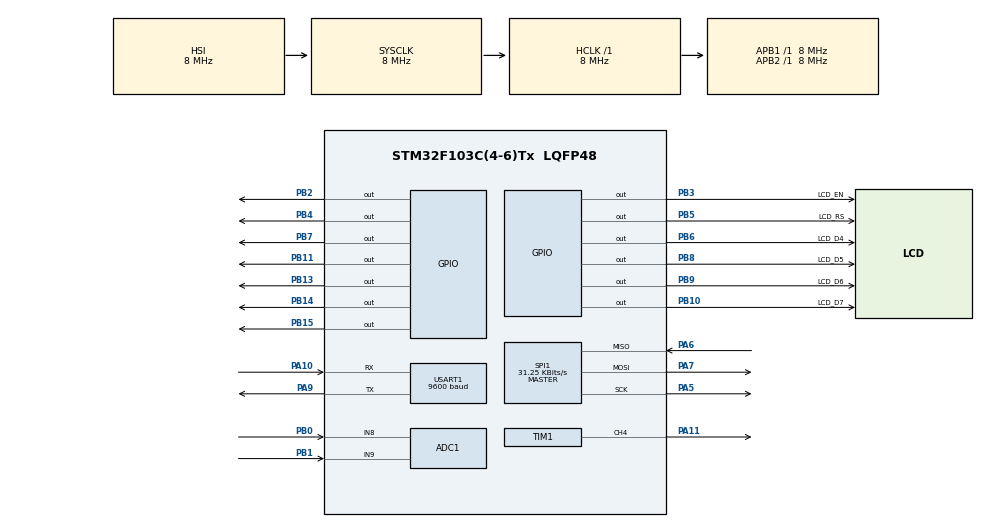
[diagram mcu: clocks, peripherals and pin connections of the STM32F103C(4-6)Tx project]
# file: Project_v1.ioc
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ADC1.Channel-1\#ChannelRegularConversion=ADC_CHANNEL_8
ADC1.ContinuousConvMode=ENABLE
ADC1.NbrOfConversionFlag=1
ADC1.Rank-1\#ChannelRegularConversion=1
ADC1.SamplingTime-1\#ChannelRegularConversion=ADC_SAMPLETIME_1CYCLE_5
ADC1.master=1
Dma.ADC1.0.Direction=DMA_PERIPH_TO_MEMORY
Dma.ADC1.0.Instance=DMA1_Channel1
Dma.ADC1.0.MemDataAlignment=DMA_MDATAALIGN_WORD
Dma.ADC1.0.MemInc=DMA_MINC_ENABLE
Dma.ADC1.0.Mode=DMA_CIRCULAR
Dma.ADC1.0.PeriphDataAlignment=DMA_PDATAALIGN_HALFWORD
Dma.ADC1.0.PeriphInc=DMA_PINC_DISABLE
Dma.ADC1.0.Priority=DMA_PRIORITY_HIGH
Dma.Request0=ADC1
Mcu.Family=STM32F1
Mcu.Name=STM32F103C(4-6)Tx
Mcu.Package=LQFP48
NVIC.ADC1_2_IRQn=true\:0\:0\:false\:false\:true\:true\:true
NVIC.DMA1_Channel1_IRQn=true\:0\:0\:false\:false\:true\:false\:true
NVIC.PriorityGroup=NVIC_PRIORITYGROUP_4
NVIC.TIM2_IRQn=true\:0\:0\:false\:false\:true\:true\:true
PA10.Mode=Asynchronous
PA10.Signal=USART1_RX
PA11.Signal=S_TIM1_CH4
PA13.Mode=Serial_Wire
PA13.Signal=SYS_JTMS-SWDIO
PA14.Mode=Serial_Wire
PA14.Signal=SYS_JTCK-SWCLK
PA5.Mode=Full_Duplex_Master
PA5.Signal=SPI1_SCK
PA6.Mode=Full_Duplex_Master
PA6.Signal=SPI1_MISO
PA7.Mode=Full_Duplex_Master
PA7.Signal=SPI1_MOSI
PA9.Mode=Asynchronous
PA9.Signal=USART1_TX
PB0.Signal=ADCx_IN8
PB1.Signal=ADCx_IN9
PB10.GPIO_Label=LCD_D7
PB10.Signal=GPIO_Output
PB11.Signal=GPIO_Output
PB13.GPIO_ModeDefaultOutputPP=GPIO_MODE_OUTPUT_PP
PB13.GPIO_PuPd=GPIO_PULLDOWN
PB13.GPIO_Speed=GPIO_SPEED_FREQ_LOW
PB13.PinState=GPIO_PIN_SET
PB13.Signal=GPIO_Output
PB14.Signal=GPIO_Output
PB15.Signal=GPIO_Output
PB2.Signal=GPIO_Output
PB3.GPIO_Label=LCD_EN
PB3.Signal=GPIO_Output
PB4.Signal=GPIO_Output
PB5.GPIO_Label=LCD_RS
PB5.Signal=GPIO_Output
PB6.GPIO_Label=LCD_D4
PB6.Signal=GPIO_Output
PB7.Signal=GPIO_Output
PB8.GPIO_Label=LCD_D5
PB8.Signal=GPIO_Output
PB9.GPIO_Label=LCD_D6
PB9.Signal=GPIO_Output
PD0-OSC_IN.Mode=HSE-External-Oscillator
PD0-OSC_IN.Signal=RCC_OSC_IN
PD1-OSC_OUT.Mode=HSE-External-Oscillator
PD1-OSC_OUT.Signal=RCC_OSC_OUT
ProjectManager.HeapSize=0x200
ProjectManager.StackSize=0x400
ProjectManager.TargetToolchain=MDK-ARM V5.27
RCC.AHBFreq_Value=8000000
RCC.APB1Freq_Value=8000000
RCC.APB1TimFreq_Value=8000000
RCC.APB2Freq_Value=8000000
RCC.APB2TimFreq_Value=8000000
RCC.HCLKFreq_Value=8000000
RCC.SYSCLKFreq_VALUE=8000000
RCC.USBFreq_Value=8000000
SH.ADCx_IN8.0=ADC1_IN8,IN8
SH.ADCx_IN9.0=ADC1_IN9,IN9
SH.S_TIM1_CH4.0=TIM1_CH4,Output Compare4 CH4
SPI1.BaudRatePrescaler=SPI_BAUDRATEPRESCALER_256
SPI1.CLKPhase=SPI_PHASE_2EDGE
SPI1.CalculateBaudRate=31.25 KBits/s
SPI1.Direction=SPI_DIRECTION_2LINES
SPI1.Mode=SPI_MODE_MASTER
SPI1.VirtualType=VM_MASTER
TIM1.Channel-Output\ Compare4\ CH4=TIM_CHANNEL_4
TIM1.OCMode_4=TIM_OCMODE_TOGGLE
TIM1.Period=63999
TIM1.Prescaler=124
TIM2.Period=63999
TIM2.Prescaler=124
USART1.BaudRate=9600
USART1.VirtualMode=VM_ASYNC
VP_TIM1_VS_ClockSourceINT.Mode=Internal
VP_TIM2_VS_ClockSourceINT.Mode=Internal
board=custom

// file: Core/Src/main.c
/* USER CODE BEGIN Header */
/**
  ******************************************************************************
  * @file           : main.c
  * @brief          : Main program body
  ******************************************************************************
  * @attention
  *
  * <h2><center>&copy; Copyright (c) 2021 STMicroelectronics.
  * All rights reserved.</center></h2>
  *
  * This software component is licensed by ST under BSD 3-Clause license,
  * the "License"; You may not use this file except in compliance with the
  * License. You may obtain a copy of the License at:
  *                        opensource.org/licenses/BSD-3-Clause
  *
  ******************************************************************************
  */
/* USER CODE END Header */
#include "main.h"

/* USER CODE BEGIN Includes */
#include "stdio.h"
#include "../../Drivers/TC72_mesu/hal_tc72.h"
#include "LCD.h"
#include "stdlib.h"
#include "math.h"
/* USER CODE END Includes */

ADC_HandleTypeDef hadc1;
DMA_HandleTypeDef hdma_adc1;

SPI_HandleTypeDef hspi1;

TIM_HandleTypeDef htim1;
TIM_HandleTypeDef htim2;

UART_HandleTypeDef huart1;

void SystemClock_Config(void);
static void MX_GPIO_Init(void);
static void MX_DMA_Init(void);
static void MX_SPI1_Init(void);
static void MX_USART1_UART_Init(void);
static void MX_ADC1_Init(void);
static void MX_TIM2_Init(void);
static void MX_TIM1_Init(void);

/* USER CODE BEGIN 0 */
//LED
int flag = 0;
static uint8_t m;
static uint8_t b;
static uint8_t r;

//y=mx+b
//Linear Regression Function
void linearregression(uint8_t n, uint32_t x[], uint32_t y[]){
	double sumx = 0.0;
	double sumx2 = 0.0;
	double sumxy = 0.0;
	double sumy = 0.0;
	double sumy2 = 0.0;

	for (int i=0;i<n;i++){
		    sumx  += x[i];
        sumx2 += (x[i]*x[i]);
        sumxy += x[i] * y[i];
        sumy  += y[i];
        sumy2 += (y[i]*y[i]);
	}

	double denom = ((n*sumx2) - (sumx*sumx));
	if (denom == 0){
		m =0;
		b=0;
		r=0;
	}
	else{
		m=(n*sumxy - sumx*sumy)/denom;
		b=(sumy*sumx2 - sumx*sumxy)/denom;
		if (r!=NULL){
			r=(sumxy-sumx * sumy/n)/(sumx2 - ((sumx*sumx)/n))*(sumy2 - ((sumy*sumy)/n))*(sumx2 - ((sumx*sumx)/n))*(sumy2 - ((sumy*sumy)/n));
		}
	}
}

/* USER CODE END 0 */

int main(void)
{
  /* USER CODE BEGIN 1 */

	//LED
	uint32_t ADC_value[100];
	uint8_t k;
	uint32_t ad1, ad2;
	//LED END

  /* USER CODE END 1 */

  /* MCU Configuration--------------------------------------------------------*/

  /* Reset of all peripherals, Initializes the Flash interface and the Systick. */
  HAL_Init();

  /* Configure the system clock */
  SystemClock_Config();

  /* Initialize all configured peripherals */
  MX_GPIO_Init();
  MX_DMA_Init();
  MX_SPI1_Init();
  MX_USART1_UART_Init();
  MX_ADC1_Init();
  MX_TIM2_Init();
  MX_TIM1_Init();
  /* USER CODE BEGIN 2 */
	HAL_TIM_OC_Start(&htim1, TIM_CHANNEL_4);
	HAL_TIM_Base_Start_IT(&htim2);
	//LDR
	HAL_ADC_Start_DMA(&hadc1,(uint32_t*)&ADC_value,100);
  //LDR END

	//LCD
 lcd_init(_LCD_4BIT, _LCD_FONT_5x8, _LCD_2LINE);
 int i=0;
 char yazi[32]=" ";
 HAL_Delay(250);
 //LCD END END END

  /* USER CODE END 2 */

  /* Infinite loop */
  /* USER CODE BEGIN WHILE */
	//GPIO_B_PIN2 = HC72_CE_Pin
	char vterminal_data[256];
	int len;
	uint8_t spi_tx_data[]= {0};
	uint8_t spi_rx_data[]= {0};
	uint8_t hc72_MSB =0;
	uint8_t hc72_LSB =0;

	len = sprintf(vterminal_data, "Configuring sensor... \r\n");
	HAL_UART_Transmit(&huart1,(uint8_t*)vterminal_data, len+1, HAL_MAX_DELAY);

	//Configure temp sensor
	//CE enable
	HAL_GPIO_WritePin(GPIOB, GPIO_PIN_2, GPIO_PIN_SET);
	spi_tx_data[0]= CONTROL_REG;
	if (HAL_SPI_Transmit(&hspi1,spi_tx_data,1, HAL_MAX_DELAY) != HAL_OK){
	len = sprintf(vterminal_data, "Error... \r\n");
	HAL_UART_Transmit(&huart1,(uint8_t*)vterminal_data, len+1, HAL_MAX_DELAY);
	}
	spi_tx_data[0]= START_CONV;
	if (HAL_SPI_Transmit(&hspi1,spi_tx_data,1, HAL_MAX_DELAY) != HAL_OK){
	len = sprintf(vterminal_data, "Error... \r\n");
	HAL_UART_Transmit(&huart1,(uint8_t*)vterminal_data, len+1, HAL_MAX_DELAY);
	}
	//CE disable
	HAL_GPIO_WritePin(GPIOB, GPIO_PIN_2, GPIO_PIN_RESET);
	HAL_Delay(150);
	//END configure temp sensor
	HAL_GPIO_WritePin(GPIOB, GPIO_PIN_15, GPIO_PIN_RESET);

	//COOLER-HEATER
	HAL_GPIO_WritePin(GPIOB, GPIO_PIN_11, GPIO_PIN_RESET);
	HAL_GPIO_WritePin(GPIOB, GPIO_PIN_13, GPIO_PIN_RESET);

	uint8_t counter = 10;
	uint8_t n = 10;
  uint32_t x[10]={1,2,3,4,5,6,7,8,9,10}; //times
	uint32_t y[10]={15,15,15,15,15,15,15,15,15,15}; // values
	uint8_t prediction;
	uint8_t predictionx;
	uint8_t temp=0;

	while (1)
  {

	//Read from temp sensor
	len = sprintf(vterminal_data, "Read from the sensor... \r\n");
	HAL_UART_Transmit(&huart1,(uint8_t*)vterminal_data, len+1, HAL_MAX_DELAY);

	//CE enable
	HAL_GPIO_WritePin(GPIOB, GPIO_PIN_2, GPIO_PIN_SET);
	spi_tx_data[0]= TEMPR_REG;
	if (HAL_SPI_Transmit(&hspi1,spi_tx_data,1, HAL_MAX_DELAY) != HAL_OK){
	len = sprintf(vterminal_data, "Error... \r\n");
	HAL_UART_Transmit(&huart1,(uint8_t*)vterminal_data, len+1, HAL_MAX_DELAY);
	}

	if (HAL_SPI_Receive(&hspi1,spi_rx_data,1, HAL_MAX_DELAY) != HAL_OK){
	len = sprintf(vterminal_data, "Error... \r\n");
	HAL_UART_Transmit(&huart1,(uint8_t*)vterminal_data, len+1, HAL_MAX_DELAY);
	}

	hc72_MSB = spi_rx_data[0];
	if (HAL_SPI_Receive(&hspi1,spi_rx_data,1, HAL_MAX_DELAY) != HAL_OK){
	len = sprintf(vterminal_data, "Error... \r\n");
	HAL_UART_Transmit(&huart1,(uint8_t*)vterminal_data, len+1, HAL_MAX_DELAY);
	}

	hc72_LSB = spi_rx_data[0];
	//CE disable

	HAL_GPIO_WritePin(GPIOB, GPIO_PIN_2, GPIO_PIN_RESET);
	HAL_Delay(10);
	//END read from temp sensor

	len = sprintf(vterminal_data, "MSB= %d, LSB= %d\r\n", hc72_MSB,hc72_LSB);
	HAL_UART_Transmit(&huart1,(uint8_t*)vterminal_data, len+1, HAL_MAX_DELAY);

	//LCD
	lcd_print(1,1, "Temperature: ");
	HAL_Delay(200);

	sprintf(yazi, "%d", hc72_MSB);
	lcd_print(1,13,yazi);
	HAL_Delay(30);
	if(hc72_MSB < 25){
			HAL_GPIO_WritePin(GPIOB, GPIO_PIN_11, GPIO_PIN_SET);
			HAL_Delay(1000);
			HAL_GPIO_WritePin(GPIOB, GPIO_PIN_13, GPIO_PIN_RESET);
	}
	if(hc72_MSB > 32){
			HAL_GPIO_WritePin(GPIOB, GPIO_PIN_13, GPIO_PIN_SET);
			HAL_GPIO_WritePin(GPIOB, GPIO_PIN_11, GPIO_PIN_RESET);
	}
	else{
			HAL_GPIO_WritePin(GPIOB, GPIO_PIN_13, GPIO_PIN_RESET);
			HAL_GPIO_WritePin(GPIOB, GPIO_PIN_11, GPIO_PIN_RESET);
	}
	//LCD END

	//LDR
	if(flag==1){
      flag=0;
			temp=((65535/(4096-ADC_value[0]))-13);
			sprintf(yazi, "%d", ((65535/(4096-ADC_value[0]))-13));
		  lcd_print(2,1, "Light Sensor Rate: ");
			lcd_print(2,19,yazi);

			y[counter] = temp;
			HAL_Delay(1000);
			if(ADC_value[0] < 1822){
				HAL_GPIO_WritePin(GPIOB, GPIO_PIN_15, GPIO_PIN_SET);
			}
			else{
				HAL_GPIO_WritePin(GPIOB, GPIO_PIN_15, GPIO_PIN_RESET);
			}

			counter--;
			HAL_Delay(100);
			linearregression(10,x,y);
			prediction = m*11+b;

			HAL_Delay(100);
			sprintf(yazi, "%d", prediction);
			lcd_print(3,1,"Prediction LDR: ");
			lcd_print(3,17,yazi);
			HAL_Delay(100);

			if(prediction<15){
				HAL_GPIO_WritePin(GPIOB, GPIO_PIN_4, GPIO_PIN_SET);
			}
			else{
				HAL_GPIO_WritePin(GPIOB, GPIO_PIN_4, GPIO_PIN_RESET);
			}
	//LDR END
		}

    /* USER CODE END WHILE */

  }
}

void SystemClock_Config(void)
{
  RCC_OscInitTypeDef RCC_OscInitStruct = {0};
  RCC_ClkInitTypeDef RCC_ClkInitStruct = {0};
  RCC_PeriphCLKInitTypeDef PeriphClkInit = {0};

  /** Initializes the RCC Oscillators according to the specified parameters
  * in the RCC_OscInitTypeDef structure.
  */
  RCC_OscInitStruct.OscillatorType = RCC_OSCILLATORTYPE_HSI;
  RCC_OscInitStruct.HSIState = RCC_HSI_ON;
  RCC_OscInitStruct.HSICalibrationValue = RCC_HSICALIBRATION_DEFAULT;
  RCC_OscInitStruct.PLL.PLLState = RCC_PLL_NONE;
  if (HAL_RCC_OscConfig(&RCC_OscInitStruct) != HAL_OK)
  {
    Error_Handler();
  }
  /** Initializes the CPU, AHB and APB buses clocks
  */
  RCC_ClkInitStruct.ClockType = RCC_CLOCKTYPE_HCLK|RCC_CLOCKTYPE_SYSCLK
                              |RCC_CLOCKTYPE_PCLK1|RCC_CLOCKTYPE_PCLK2;
  RCC_ClkInitStruct.SYSCLKSource = RCC_SYSCLKSOURCE_HSI;
  RCC_ClkInitStruct.AHBCLKDivider = RCC_SYSCLK_DIV1;
  RCC_ClkInitStruct.APB1CLKDivider = RCC_HCLK_DIV1;
  RCC_ClkInitStruct.APB2CLKDivider = RCC_HCLK_DIV1;

  if (HAL_RCC_ClockConfig(&RCC_ClkInitStruct, FLASH_LATENCY_0) != HAL_OK)
  {
    Error_Handler();
  }
  PeriphClkInit.PeriphClockSelection = RCC_PERIPHCLK_ADC;
  PeriphClkInit.AdcClockSelection = RCC_ADCPCLK2_DIV2;
  if (HAL_RCCEx_PeriphCLKConfig(&PeriphClkInit) != HAL_OK)
  {
    Error_Handler();
  }
}

static void MX_ADC1_Init(void)
{

  ADC_ChannelConfTypeDef sConfig = {0};

  /** Common config
  */
  hadc1.Instance = ADC1;
  hadc1.Init.ScanConvMode = ADC_SCAN_DISABLE;
  hadc1.Init.ContinuousConvMode = ENABLE;
  hadc1.Init.DiscontinuousConvMode = DISABLE;
  hadc1.Init.ExternalTrigConv = ADC_SOFTWARE_START;
  hadc1.Init.DataAlign = ADC_DATAALIGN_RIGHT;
  hadc1.Init.NbrOfConversion = 1;
  if (HAL_ADC_Init(&hadc1) != HAL_OK)
  {
    Error_Handler();
  }
  /** Configure Regular Channel
  */
  sConfig.Channel = ADC_CHANNEL_8;
  sConfig.Rank = ADC_REGULAR_RANK_1;
  sConfig.SamplingTime = ADC_SAMPLETIME_1CYCLE_5;
  if (HAL_ADC_ConfigChannel(&hadc1, &sConfig) != HAL_OK)
  {
    Error_Handler();
  }

}

static void MX_SPI1_Init(void)
{

  /* SPI1 parameter configuration*/
  hspi1.Instance = SPI1;
  hspi1.Init.Mode = SPI_MODE_MASTER;
  hspi1.Init.Direction = SPI_DIRECTION_2LINES;
  hspi1.Init.DataSize = SPI_DATASIZE_8BIT;
  hspi1.Init.CLKPolarity = SPI_POLARITY_LOW;
  hspi1.Init.CLKPhase = SPI_PHASE_2EDGE;
  hspi1.Init.NSS = SPI_NSS_SOFT;
  hspi1.Init.BaudRatePrescaler = SPI_BAUDRATEPRESCALER_256;
  hspi1.Init.FirstBit = SPI_FIRSTBIT_MSB;
  hspi1.Init.TIMode = SPI_TIMODE_DISABLE;
  hspi1.Init.CRCCalculation = SPI_CRCCALCULATION_DISABLE;
  hspi1.Init.CRCPolynomial = 10;
  if (HAL_SPI_Init(&hspi1) != HAL_OK)
  {
    Error_Handler();
  }

}

static void MX_TIM1_Init(void)
{

  TIM_ClockConfigTypeDef sClockSourceConfig = {0};
  TIM_MasterConfigTypeDef sMasterConfig = {0};
  TIM_OC_InitTypeDef sConfigOC = {0};
  TIM_BreakDeadTimeConfigTypeDef sBreakDeadTimeConfig = {0};

  htim1.Instance = TIM1;
  htim1.Init.Prescaler = 124;
  htim1.Init.CounterMode = TIM_COUNTERMODE_UP;
  htim1.Init.Period = 63999;
  htim1.Init.ClockDivision = TIM_CLOCKDIVISION_DIV1;
  htim1.Init.RepetitionCounter = 0;
  htim1.Init.AutoReloadPreload = TIM_AUTORELOAD_PRELOAD_DISABLE;
  if (HAL_TIM_Base_Init(&htim1) != HAL_OK)
  {
    Error_Handler();
  }
  sClockSourceConfig.ClockSource = TIM_CLOCKSOURCE_INTERNAL;
  if (HAL_TIM_ConfigClockSource(&htim1, &sClockSourceConfig) != HAL_OK)
  {
    Error_Handler();
  }
  if (HAL_TIM_OC_Init(&htim1) != HAL_OK)
  {
    Error_Handler();
  }
  sMasterConfig.MasterOutputTrigger = TIM_TRGO_RESET;
  sMasterConfig.MasterSlaveMode = TIM_MASTERSLAVEMODE_DISABLE;
  if (HAL_TIMEx_MasterConfigSynchronization(&htim1, &sMasterConfig) != HAL_OK)
  {
    Error_Handler();
  }
  sConfigOC.OCMode = TIM_OCMODE_TOGGLE;
  sConfigOC.Pulse = 0;
  sConfigOC.OCPolarity = TIM_OCPOLARITY_HIGH;
  sConfigOC.OCFastMode = TIM_OCFAST_DISABLE;
  sConfigOC.OCIdleState = TIM_OCIDLESTATE_RESET;
  sConfigOC.OCNIdleState = TIM_OCNIDLESTATE_RESET;
  if (HAL_TIM_OC_ConfigChannel(&htim1, &sConfigOC, TIM_CHANNEL_4) != HAL_OK)
  {
    Error_Handler();
  }
  sBreakDeadTimeConfig.OffStateRunMode = TIM_OSSR_DISABLE;
  sBreakDeadTimeConfig.OffStateIDLEMode = TIM_OSSI_DISABLE;
  sBreakDeadTimeConfig.LockLevel = TIM_LOCKLEVEL_OFF;
  sBreakDeadTimeConfig.DeadTime = 0;
  sBreakDeadTimeConfig.BreakState = TIM_BREAK_DISABLE;
  sBreakDeadTimeConfig.BreakPolarity = TIM_BREAKPOLARITY_HIGH;
  sBreakDeadTimeConfig.AutomaticOutput = TIM_AUTOMATICOUTPUT_DISABLE;
  if (HAL_TIMEx_ConfigBreakDeadTime(&htim1, &sBreakDeadTimeConfig) != HAL_OK)
  {
    Error_Handler();
  }
  HAL_TIM_MspPostInit(&htim1);

}

static void MX_TIM2_Init(void)
{

  TIM_ClockConfigTypeDef sClockSourceConfig = {0};
  TIM_MasterConfigTypeDef sMasterConfig = {0};

  htim2.Instance = TIM2;
  htim2.Init.Prescaler = 124;
  htim2.Init.CounterMode = TIM_COUNTERMODE_UP;
  htim2.Init.Period = 63999;
  htim2.Init.ClockDivision = TIM_CLOCKDIVISION_DIV1;
  htim2.Init.AutoReloadPreload = TIM_AUTORELOAD_PRELOAD_DISABLE;
  if (HAL_TIM_Base_Init(&htim2) != HAL_OK)
  {
    Error_Handler();
  }
  sClockSourceConfig.ClockSource = TIM_CLOCKSOURCE_INTERNAL;
  if (HAL_TIM_ConfigClockSource(&htim2, &sClockSourceConfig) != HAL_OK)
  {
    Error_Handler();
  }
  sMasterConfig.MasterOutputTrigger = TIM_TRGO_RESET;
  sMasterConfig.MasterSlaveMode = TIM_MASTERSLAVEMODE_DISABLE;
  if (HAL_TIMEx_MasterConfigSynchronization(&htim2, &sMasterConfig) != HAL_OK)
  {
    Error_Handler();
  }

}

static void MX_USART1_UART_Init(void)
{

  huart1.Instance = USART1;
  huart1.Init.BaudRate = 9600;
  huart1.Init.WordLength = UART_WORDLENGTH_8B;
  huart1.Init.StopBits = UART_STOPBITS_1;
  huart1.Init.Parity = UART_PARITY_NONE;
  huart1.Init.Mode = UART_MODE_TX_RX;
  huart1.Init.HwFlowCtl = UART_HWCONTROL_NONE;
  huart1.Init.OverSampling = UART_OVERSAMPLING_16;
  if (HAL_UART_Init(&huart1) != HAL_OK)
  {
    Error_Handler();
  }

}

static void MX_DMA_Init(void)
{

  /* DMA controller clock enable */
  __HAL_RCC_DMA1_CLK_ENABLE();

  /* DMA interrupt init */
  /* DMA1_Channel1_IRQn interrupt configuration */
  HAL_NVIC_SetPriority(DMA1_Channel1_IRQn, 0, 0);
  HAL_NVIC_EnableIRQ(DMA1_Channel1_IRQn);

}

static void MX_GPIO_Init(void)
{
  GPIO_InitTypeDef GPIO_InitStruct = {0};

  /* GPIO Ports Clock Enable */
  __HAL_RCC_GPIOD_CLK_ENABLE();
  __HAL_RCC_GPIOA_CLK_ENABLE();
  __HAL_RCC_GPIOB_CLK_ENABLE();

  /*Configure GPIO pin Output Level */
  HAL_GPIO_WritePin(GPIOB, GPIO_PIN_2|LCD_D7_Pin|GPIO_PIN_11|GPIO_PIN_14
                          |GPIO_PIN_15|LCD_EN_Pin|GPIO_PIN_4|LCD_RS_Pin
                          |LCD_D4_Pin|GPIO_PIN_7|LCD_D5_Pin|LCD_D6_Pin, GPIO_PIN_RESET);

  /*Configure GPIO pin Output Level */
  HAL_GPIO_WritePin(GPIOB, GPIO_PIN_13, GPIO_PIN_SET);

  /*Configure GPIO pins : PB2 LCD_D7_Pin PB11 PB14
                           PB15 LCD_EN_Pin PB4 LCD_RS_Pin
                           LCD_D4_Pin PB7 LCD_D5_Pin LCD_D6_Pin */
  GPIO_InitStruct.Pin = GPIO_PIN_2|LCD_D7_Pin|GPIO_PIN_11|GPIO_PIN_14
                          |GPIO_PIN_15|LCD_EN_Pin|GPIO_PIN_4|LCD_RS_Pin
                          |LCD_D4_Pin|GPIO_PIN_7|LCD_D5_Pin|LCD_D6_Pin;
  GPIO_InitStruct.Mode = GPIO_MODE_OUTPUT_PP;
  GPIO_InitStruct.Pull = GPIO_NOPULL;
  GPIO_InitStruct.Speed = GPIO_SPEED_FREQ_LOW;
  HAL_GPIO_Init(GPIOB, &GPIO_InitStruct);

  /*Configure GPIO pin : PB13 */
  GPIO_InitStruct.Pin = GPIO_PIN_13;
  GPIO_InitStruct.Mode = GPIO_MODE_OUTPUT_PP;
  GPIO_InitStruct.Pull = GPIO_PULLDOWN;
  GPIO_InitStruct.Speed = GPIO_SPEED_FREQ_LOW;
  HAL_GPIO_Init(GPIOB, &GPIO_InitStruct);

}

/* USER CODE BEGIN 4 */
void HAL_ADC_ConvCpltCallback(ADC_HandleTypeDef* hadc){

	flag=1;

//HAL_ADC_Stop_DMA(hadc);
}

/* USER CODE END 4 */

void Error_Handler(void)
{
  __disable_irq();
  while (1)
  {
  }
}

/************************ (C) COPYRIGHT STMicroelectronics *****END OF FILE****/
